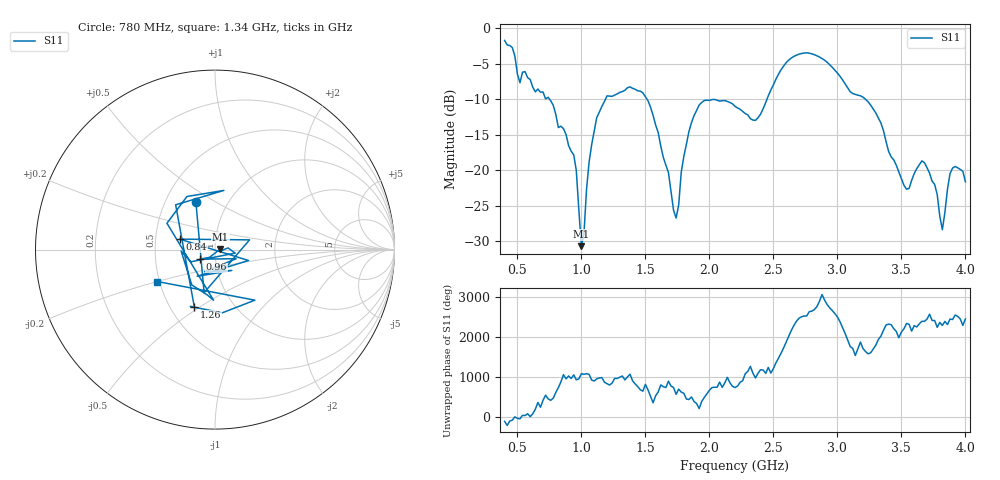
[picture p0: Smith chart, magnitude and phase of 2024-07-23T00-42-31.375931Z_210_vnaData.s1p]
!Created with skrf (http://scikit-rf.org).
# Hz S RI R 50.0
!freq ReS11 ImS11
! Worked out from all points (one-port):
!   181 points, 400 MHz to 4 GHz, reference 50 ohm
!   lowest |S11| = -30.7 dB at 1 GHz (marker M1), VSWR 1.06, Z = 53 + j0.312 ohm
!   |S11| at or under -10 dB: 752.2 MHz to 1.188 GHz (435.5 MHz wide, 44.9 % of centre); 1.514 GHz to 2.45 GHz (935.9 MHz wide, 47.2 % of centre); 3.22 GHz to end of sweep
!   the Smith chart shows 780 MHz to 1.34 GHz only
!   S11 on the Smith chart (normalised r, x): 780 MHz: 0.71, +0.41; 840 MHz: 0.67, +0.08; 960 MHz: 0.84, -0.09; 1.26 GHz: 0.66, -0.47; 1.34 GHz: 0.49, -0.20
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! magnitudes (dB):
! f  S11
! 400 MHz  -1.7
! 520 MHz  -7.7
! 780 MHz  -10.8
! 840 MHz  -13.8
! 860 MHz  -14.1
! 960 MHz  -20.0
! 1 GHz  -30.7
! 1.06 GHz  -18.9
! 1.12 GHz  -12.6
! 1.26 GHz  -9.4
! 1.3 GHz  -9.0
! 1.34 GHz  -8.7
! 1.52 GHz  -10.2
! 1.72 GHz  -25.6
! 1.76 GHz  -24.9
! 1.84 GHz  -14.5
! 1.92 GHz  -10.8
! 2.2 GHz  -11.0
! 2.36 GHz  -13.0
! 2.66 GHz  -3.9
! 3.1 GHz  -8.9
! 3.3 GHz  -11.9
! 3.56 GHz  -22.6
! 3.68 GHz  -18.9
! 3.76 GHz  -22.0
! 3.82 GHz  -28.4
! 3.9 GHz  -19.7
! 4 GHz  -21.6
